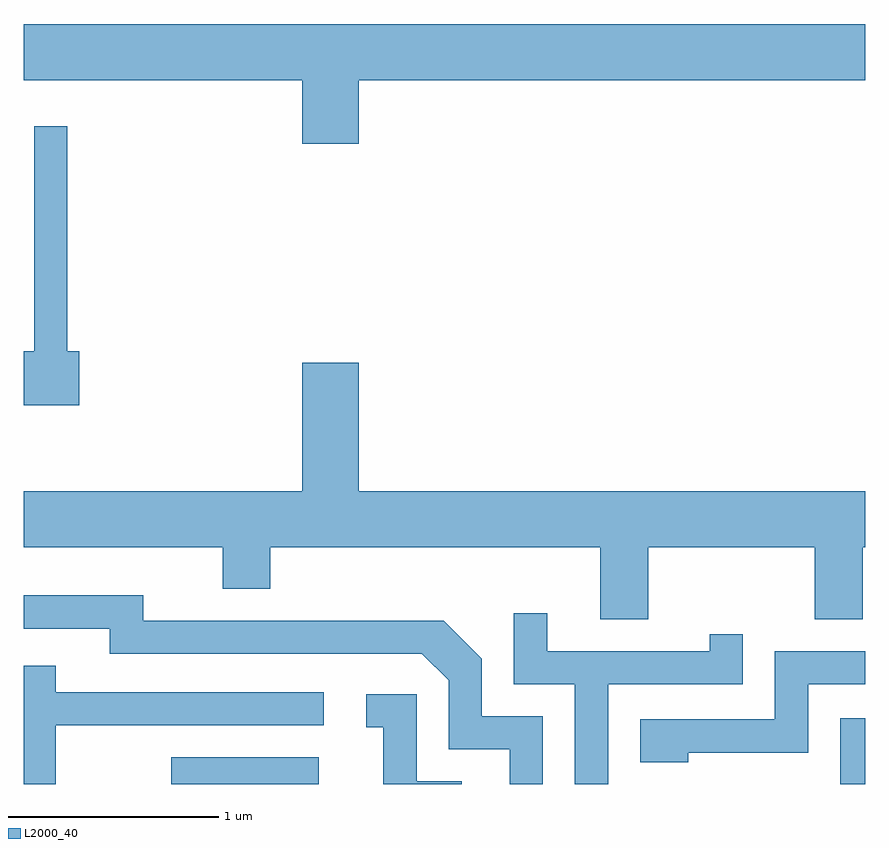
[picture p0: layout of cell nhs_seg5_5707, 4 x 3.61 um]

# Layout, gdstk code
import gdstk
lib = gdstk.Library(unit=1e-6, precision=1e-09)
def R(c, l, rs):  # rectangles x0, y0, x1, y1
    for r in rs: c.add(gdstk.rectangle(r[:2], r[2:], *l))
def P(c, l, *ps):  # polygons
    for p in ps: c.add(gdstk.Polygon(p, *l))
L2000_40 = (2000, 40)

nhs_seg5_5707 = lib.new_cell('nhs_seg5_5707')
R(nhs_seg5_5707, L2000_40, [(354.313,1500.072,355.014,1500.199), (357.491,1500.072,357.611,1500.384)])
P(nhs_seg5_5707, L2000_40, [(355.204,1503.416),(357.611,1503.416),(357.611,1503.684),(353.611,1503.684),(353.611,1503.416),(354.936,1503.416),(354.936,1503.116),(355.204,1503.116)],
  [(353.874,1502.129),(353.819,1502.129),(353.819,1503.198),(353.661,1503.198),(353.661,1502.129),(353.611,1502.129),(353.611,1501.871),(353.874,1501.871)],
  [(356.579,1501.196),(357.371,1501.196),(357.371,1500.856),(357.599,1500.856),(357.599,1501.196),(357.611,1501.196),(357.611,1501.464),(355.204,1501.464),(355.204,1502.074),(354.936,1502.074),(354.936,1501.464),(353.611,1501.464),(353.611,1501.196),(354.556,1501.196),(354.556,1501.001),(354.784,1501.001),(354.784,1501.196),(356.351,1501.196),(356.351,1500.856),(356.579,1500.856)],
  [(356.079,1500.394),(355.789,1500.394),(355.789,1500.667),(355.607,1500.849),(354.179,1500.849),(354.179,1500.969),(353.611,1500.969),(353.611,1500.811),(354.021,1500.811),(354.021,1500.691),(355.504,1500.691),(355.631,1500.564),(355.631,1500.236),(355.921,1500.236),(355.921,1500.072),(356.079,1500.072)],
  [(356.389,1500.546),(357.029,1500.546),(357.029,1500.783),(356.871,1500.783),(356.871,1500.704),(356.099,1500.704),(356.099,1500.883),(355.941,1500.883),(355.941,1500.546),(356.231,1500.546),(356.231,1500.072),(356.389,1500.072)],
  [(356.769,1500.221),(357.339,1500.221),(357.339,1500.546),(357.611,1500.546),(357.611,1500.704),(357.181,1500.704),(357.181,1500.379),(356.541,1500.379),(356.541,1500.176),(356.769,1500.176)],
  [(353.764,1500.351),(355.038,1500.351),(355.038,1500.509),(353.764,1500.509),(353.764,1500.633),(353.611,1500.633),(353.611,1500.072),(353.764,1500.072)],
  [(355.694,1500.084),(355.479,1500.084),(355.479,1500.499),(355.238,1500.499),(355.238,1500.341),(355.321,1500.341),(355.321,1500.072),(355.694,1500.072)])

lib.write_gds('nhs_seg5_5707.gds')
